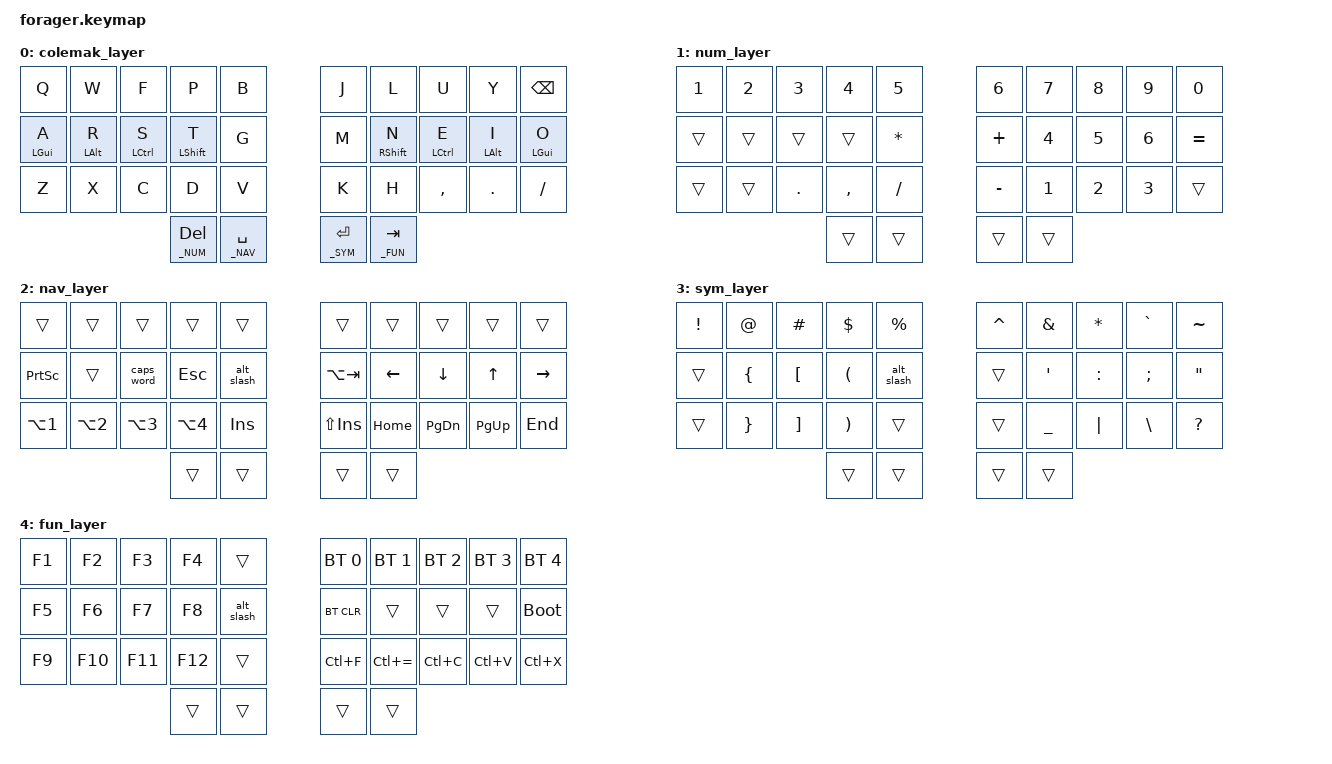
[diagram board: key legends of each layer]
/*
 * Copyright (c) 2020 The ZMK Contributors
 *
 * SPDX-License-Identifier: MIT
 */

#include <behaviors.dtsi>
#include <dt-bindings/zmk/keys.h>
#include <dt-bindings/zmk/bt.h>
#include <dt-bindings/zmk/outputs.h>

// Layer definitions
#define _COLEMAK 0
#define _NUM     1
#define _NAV     2
#define _SYM     3
#define _FUN     4

/ {
    combos {
        compatible = "zmk,combos";
        
        combo_workstation {
            timeout-ms = <50>;
            key-positions = <1 12>;  // W and S positions
            bindings = <&macro_workstation>;
        };
    };

    macros {
        macro_workstation: macro_workstation {
            compatible = "zmk,behavior-macro";
            #binding-cells = <0>;
            bindings = <&kp W &kp O &kp R &kp K &kp S &kp T &kp A &kp T &kp I &kp O &kp N &kp SPACE>;
        };

        alt_slash: alt_slash {
            compatible = "zmk,behavior-macro";
            #binding-cells = <0>;
            bindings = <&macro_press &kp LALT>
                     , <&macro_tap &kp SLASH>
                     , <&macro_release &kp LALT>;
        };

        cedilla: cedilla {
            compatible = "zmk,behavior-macro";
            #binding-cells = <0>;
            bindings = <&macro_press &kp RALT>
                     , <&macro_tap &kp COMMA>
                     , <&macro_release &kp RALT>;
        };
    };

    behaviors {
        hm: homerow_mods {
            compatible = "zmk,behavior-hold-tap";
            #binding-cells = <2>;
            tapping-term-ms = <200>;
            quick-tap-ms = <0>;
            flavor = "tap-preferred";
            bindings = <&kp>, <&kp>;
        };

        lt_long: layer_tap_long {
            compatible = "zmk,behavior-hold-tap";
            #binding-cells = <2>;
            tapping-term-ms = <200>;
            quick-tap-ms = <0>;
            flavor = "tap-preferred";
            bindings = <&mo>, <&kp>;
        };
    };

    keymap {
        compatible = "zmk,keymap";

        colemak_layer {
            bindings = <
        &kp Q       &kp W       &kp F        &kp P        &kp B          &kp J       &kp L        &kp U        &kp Y        &kp BSPC
        &hm LGUI A  &hm LALT R  &hm LCTRL S  &hm LSHFT T  &kp G          &kp M       &hm RSHFT N  &hm LCTRL E  &hm LALT I   &hm LGUI O
        &kp Z       &kp X       &kp C        &kp D        &kp V          &kp K       &kp H        &kp COMMA    &kp DOT      &kp SLASH
                                             &lt_long _NUM DEL  &lt_long _NAV SPACE    &lt_long _SYM RET  &lt_long _FUN TAB
            >;
        };

        num_layer {
            bindings = <
        &kp N1    &kp N2    &kp N3     &kp N4     &kp N5       &kp N6      &kp N7    &kp N8    &kp N9    &kp N0
        &trans    &trans    &trans     &trans     &kp STAR     &kp PLUS    &kp N4    &kp N5    &kp N6    &kp EQUAL
        &trans    &trans    &kp DOT    &kp COMMA  &kp SLASH    &kp MINUS   &kp N1    &kp N2    &kp N3    &trans
                                       &trans     &trans       &trans      &trans
            >;
        };

        nav_layer {
            bindings = <
        &trans       &trans    &trans      &trans     &trans        &trans         &trans     &trans      &trans      &trans
        &kp PSCRN    &trans    &caps_word  &kp ESC    &alt_slash    &kp LA(TAB)    &kp LEFT   &kp DOWN    &kp UP      &kp RIGHT
        &kp LA(N1)   &kp LA(N2) &kp LA(N3) &kp LA(N4) &kp INS       &kp LS(INS)    &kp HOME   &kp PG_DN   &kp PG_UP   &kp END
                                           &trans     &trans        &trans         &trans
            >;
        };

        sym_layer {
            bindings = <
        &kp EXCL   &kp AT     &kp HASH   &kp DLLR   &kp PRCNT     &kp CARET   &kp AMPS   &kp STAR   &kp GRAVE   &kp TILDE
        &trans     &kp LBRC   &kp LBKT   &kp LPAR   &alt_slash    &trans      &kp SQT    &kp COLON  &kp SEMI    &kp DQT
        &trans     &kp RBRC   &kp RBKT   &kp RPAR   &trans        &trans      &kp UNDER  &kp PIPE   &kp BSLH    &kp QMARK
                                         &trans     &trans        &trans      &trans
            >;
        };

        fun_layer {
            bindings = <
        &kp F1    &kp F2    &kp F3    &kp F4    &trans        &bt BT_SEL 0        &bt BT_SEL 1     &bt BT_SEL 2  &bt BT_SEL 3  &bt BT_SEL 4
        &kp F5    &kp F6    &kp F7    &kp F8    &alt_slash    &bt BT_CLR          &trans           &trans        &trans        &bootloader
        &kp F9    &kp F10   &kp F11   &kp F12   &trans        &kp LC(F)           &kp LC(EQUAL)    &kp LC(C)     &kp LC(V)     &kp LC(X)
                                      &trans    &trans        &trans              &trans
            >;
        };
    };
};

&lt {
    // require-prior-idle-ms = <100>;
    tapping-term-ms = <150>;
    quick-tap-ms = <200>;
};
